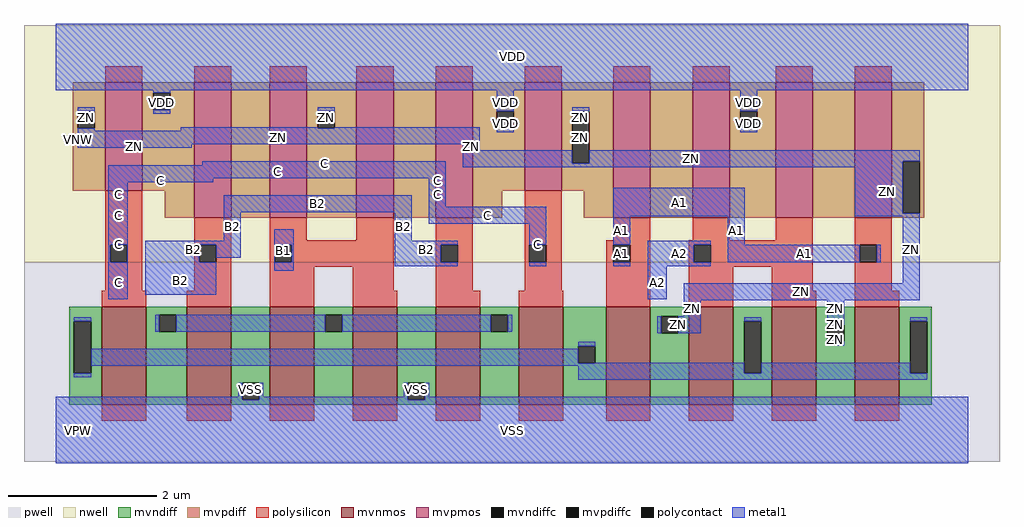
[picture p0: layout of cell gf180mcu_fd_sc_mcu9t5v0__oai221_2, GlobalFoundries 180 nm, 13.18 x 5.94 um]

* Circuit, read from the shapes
.subckt gf180mcu_fd_sc_mcu9t5v0__oai221_2 A1 A2 B1 B2 C ZN VDD VNW VPW VSS
XM1 n1 C n2 VPW nfet_06v0 w=1.32u l=0.6u m=2
XM2 VSS B2 n1 VPW nfet_06v0 w=1.32u l=0.6u m=2
XM3 n1 B1 VSS VPW nfet_06v0 w=1.32u l=0.6u m=2
XM4 ZN A1 n2 VPW nfet_06v0 w=1.32u l=0.6u m=2
XM5 n2 A2 ZN VPW nfet_06v0 w=1.32u l=0.6u m=2
XM6 VDD C ZN VNW pfet_06v0 w=1.46u l=0.5u m=2
XM7 n3 B2 VDD VNW pfet_06v0 w=1.83u l=0.5u
XM8 ZN B1 n3 VNW pfet_06v0 w=1.83u l=0.5u
XM9 n4 B1 ZN VNW pfet_06v0 w=1.83u l=0.5u
XM10 VDD B2 n4 VNW pfet_06v0 w=1.83u l=0.5u
XM11 n5 A1 ZN VNW pfet_06v0 w=1.83u l=0.5u
XM12 VDD A2 n5 VNW pfet_06v0 w=1.83u l=0.5u
XM13 n6 A2 VDD VNW pfet_06v0 w=1.83u l=0.5u
XM14 ZN A1 n6 VNW pfet_06v0 w=1.83u l=0.5u
.ends

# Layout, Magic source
magic
tech gf180mcuD
magscale 1 10
<< nwell >>
rect -86 453 2550 1094
<< pwell >>
rect -86 -86 2550 453
<< mvnmos >>
rect 124 69 244 333
rect 354 69 474 333
rect 578 69 698 333
rect 802 69 922 333
rect 1026 69 1146 333
rect 1250 69 1370 333
rect 1486 69 1606 333
rect 1710 69 1830 333
rect 1934 69 2054 333
rect 2158 69 2278 333
<< mvpmos >>
rect 134 647 234 939
rect 374 573 474 939
rect 578 573 678 939
rect 812 573 912 939
rect 1026 573 1126 939
rect 1266 647 1366 939
rect 1506 573 1606 939
rect 1720 573 1820 939
rect 1944 573 2044 939
rect 2158 573 2258 939
<< mvndiff >>
rect 36 294 124 333
rect 36 154 49 294
rect 95 154 124 294
rect 36 69 124 154
rect 244 312 354 333
rect 244 266 279 312
rect 325 266 354 312
rect 244 69 354 266
rect 474 128 578 333
rect 474 82 503 128
rect 549 82 578 128
rect 474 69 578 82
rect 698 312 802 333
rect 698 266 727 312
rect 773 266 802 312
rect 698 69 802 266
rect 922 128 1026 333
rect 922 82 951 128
rect 997 82 1026 128
rect 922 69 1026 82
rect 1146 312 1250 333
rect 1146 266 1175 312
rect 1221 266 1250 312
rect 1146 69 1250 266
rect 1370 227 1486 333
rect 1370 181 1411 227
rect 1457 181 1486 227
rect 1370 69 1486 181
rect 1606 308 1710 333
rect 1606 262 1635 308
rect 1681 262 1710 308
rect 1606 69 1710 262
rect 1830 294 1934 333
rect 1830 154 1859 294
rect 1905 154 1934 294
rect 1830 69 1934 154
rect 2054 285 2158 333
rect 2054 239 2083 285
rect 2129 239 2158 285
rect 2054 69 2158 239
rect 2278 294 2366 333
rect 2278 154 2307 294
rect 2353 154 2366 294
rect 2278 69 2366 154
<< mvpdiff >>
rect 46 861 134 939
rect 46 815 59 861
rect 105 815 134 861
rect 46 647 134 815
rect 234 911 374 939
rect 234 865 263 911
rect 309 865 374 911
rect 234 647 374 865
rect 294 573 374 647
rect 474 573 578 939
rect 678 861 812 939
rect 678 815 707 861
rect 753 815 812 861
rect 678 573 812 815
rect 912 573 1026 939
rect 1126 861 1266 939
rect 1126 815 1191 861
rect 1237 815 1266 861
rect 1126 647 1266 815
rect 1366 861 1506 939
rect 1366 721 1395 861
rect 1441 721 1506 861
rect 1366 647 1506 721
rect 1126 573 1206 647
rect 1426 573 1506 647
rect 1606 573 1720 939
rect 1820 861 1944 939
rect 1820 815 1849 861
rect 1895 815 1944 861
rect 1820 573 1944 815
rect 2044 573 2158 939
rect 2258 726 2346 939
rect 2258 586 2287 726
rect 2333 586 2346 726
rect 2258 573 2346 586
<< mvndiffc >>
rect 49 154 95 294
rect 279 266 325 312
rect 503 82 549 128
rect 727 266 773 312
rect 951 82 997 128
rect 1175 266 1221 312
rect 1411 181 1457 227
rect 1635 262 1681 308
rect 1859 154 1905 294
rect 2083 239 2129 285
rect 2307 154 2353 294
<< mvpdiffc >>
rect 59 815 105 861
rect 263 865 309 911
rect 707 815 753 861
rect 1191 815 1237 861
rect 1395 721 1441 861
rect 1849 815 1895 861
rect 2287 586 2333 726
<< polysilicon >>
rect 134 939 234 983
rect 374 939 474 983
rect 578 939 678 983
rect 812 939 912 983
rect 1026 939 1126 983
rect 1266 939 1366 983
rect 1506 939 1606 983
rect 1720 939 1820 983
rect 1944 939 2044 983
rect 2158 939 2258 983
rect 134 500 234 647
rect 134 454 147 500
rect 193 454 234 500
rect 134 377 234 454
rect 374 500 474 573
rect 374 454 387 500
rect 433 454 474 500
rect 374 377 474 454
rect 124 333 244 377
rect 354 333 474 377
rect 578 513 678 573
rect 812 513 912 573
rect 578 500 912 513
rect 578 454 591 500
rect 637 454 912 500
rect 578 441 912 454
rect 578 333 698 441
rect 802 377 912 441
rect 1026 500 1126 573
rect 1026 454 1039 500
rect 1085 454 1126 500
rect 1026 377 1126 454
rect 1266 500 1366 647
rect 1506 513 1606 573
rect 1720 513 1820 573
rect 1944 513 2044 573
rect 1266 454 1279 500
rect 1325 454 1366 500
rect 1266 377 1366 454
rect 1486 500 1606 513
rect 1486 454 1506 500
rect 1552 454 1606 500
rect 802 333 922 377
rect 1026 333 1146 377
rect 1250 333 1370 377
rect 1486 333 1606 454
rect 1710 500 2044 513
rect 1710 454 1723 500
rect 1769 454 2044 500
rect 1710 441 2044 454
rect 1710 333 1830 441
rect 1934 377 2044 441
rect 2158 500 2258 573
rect 2158 454 2171 500
rect 2217 454 2258 500
rect 2158 377 2258 454
rect 1934 333 2054 377
rect 2158 333 2278 377
rect 124 25 244 69
rect 354 25 474 69
rect 578 25 698 69
rect 802 25 922 69
rect 1026 25 1146 69
rect 1250 25 1370 69
rect 1486 25 1606 69
rect 1710 25 1830 69
rect 1934 25 2054 69
rect 2158 25 2278 69
<< polycontact >>
rect 147 454 193 500
rect 387 454 433 500
rect 591 454 637 500
rect 1039 454 1085 500
rect 1279 454 1325 500
rect 1506 454 1552 500
rect 1723 454 1769 500
rect 2171 454 2217 500
<< metal1 >>
rect 0 918 2464 1098
rect 263 911 309 918
rect 59 861 105 872
rect 263 854 309 865
rect 707 861 753 872
rect 59 808 105 815
rect 338 815 707 818
rect 1191 861 1237 918
rect 753 815 1145 818
rect 338 808 1145 815
rect 59 772 1145 808
rect 1191 804 1237 815
rect 1395 861 1441 872
rect 59 762 367 772
rect 1099 756 1145 772
rect 396 716 1053 726
rect 142 680 1053 716
rect 1099 721 1395 756
rect 1849 861 1895 918
rect 1849 804 1895 815
rect 1441 726 2333 756
rect 1441 721 2287 726
rect 1099 710 2287 721
rect 142 670 425 680
rect 142 500 194 670
rect 454 588 961 634
rect 454 511 500 588
rect 142 454 147 500
rect 193 454 194 500
rect 142 354 194 454
rect 242 500 500 511
rect 242 454 387 500
rect 433 465 500 500
rect 590 500 642 542
rect 242 366 433 454
rect 590 454 591 500
rect 637 454 642 500
rect 590 430 642 454
rect 915 511 961 588
rect 1007 603 1053 680
rect 1007 557 1325 603
rect 915 500 1085 511
rect 915 454 1039 500
rect 915 443 1085 454
rect 1279 500 1325 557
rect 1279 443 1325 454
rect 1506 578 1861 654
rect 2158 586 2287 710
rect 2158 578 2333 586
rect 1506 500 1552 578
rect 1506 443 1552 454
rect 1598 500 1769 511
rect 1598 454 1723 500
rect 1815 500 1861 578
rect 1815 454 2171 500
rect 2217 454 2228 500
rect 1598 443 1769 454
rect 1598 354 1650 443
rect 2287 397 2333 578
rect 1696 351 2333 397
rect 49 294 95 305
rect 268 266 279 312
rect 325 266 727 312
rect 773 266 1175 312
rect 1221 266 1232 312
rect 1696 308 1742 351
rect 1624 262 1635 308
rect 1681 262 1742 308
rect 1859 294 1905 305
rect 1411 227 1457 238
rect 95 181 1411 220
rect 1457 181 1859 182
rect 95 174 1859 181
rect 49 143 95 154
rect 1411 154 1859 174
rect 2083 285 2129 351
rect 2083 228 2129 239
rect 2307 294 2353 305
rect 1905 154 2307 182
rect 1411 136 2353 154
rect 492 90 503 128
rect 0 82 503 90
rect 549 90 560 128
rect 940 90 951 128
rect 549 82 951 90
rect 997 90 1008 128
rect 997 82 2464 90
rect 0 -90 2464 82
<< labels >>
flabel metal1 s 1506 578 1861 654 0 FreeSans 200 0 0 0 A1
port 1 nsew default input
flabel metal1 s 1598 443 1769 511 0 FreeSans 200 0 0 0 A2
port 2 nsew default input
flabel metal1 s 590 430 642 542 0 FreeSans 200 0 0 0 B1
port 3 nsew default input
flabel metal1 s 454 588 961 634 0 FreeSans 200 0 0 0 B2
port 4 nsew default input
flabel metal1 s 396 716 1053 726 0 FreeSans 200 0 0 0 C
port 5 nsew default input
flabel metal1 s 0 918 2464 1098 0 FreeSans 200 0 0 0 VDD
port 7 nsew power bidirectional abutment
flabel metal1 s 940 90 1008 128 0 FreeSans 200 0 0 0 VSS
port 10 nsew ground bidirectional abutment
flabel metal1 s 1395 818 1441 872 0 FreeSans 200 0 0 0 ZN
port 6 nsew default output
flabel nwell s 10 734 110 834 0 FreeSans 400 0 0 0 VNW
port 8 nsew power bidirectional
flabel pwell s 10 -50 110 50 0 FreeSans 400 0 0 0 VPW
port 9 nsew ground bidirectional
rlabel metal1 s 1815 500 1861 578 1 A1
port 1 nsew default input
rlabel metal1 s 1506 500 1552 578 1 A1
port 1 nsew default input
rlabel metal1 s 1815 454 2228 500 1 A1
port 1 nsew default input
rlabel metal1 s 1506 454 1552 500 1 A1
port 1 nsew default input
rlabel metal1 s 1506 443 1552 454 1 A1
port 1 nsew default input
rlabel metal1 s 1598 354 1650 443 1 A2
port 2 nsew default input
rlabel metal1 s 915 511 961 588 1 B2
port 4 nsew default input
rlabel metal1 s 454 511 500 588 1 B2
port 4 nsew default input
rlabel metal1 s 915 465 1085 511 1 B2
port 4 nsew default input
rlabel metal1 s 242 465 500 511 1 B2
port 4 nsew default input
rlabel metal1 s 915 443 1085 465 1 B2
port 4 nsew default input
rlabel metal1 s 242 443 433 465 1 B2
port 4 nsew default input
rlabel metal1 s 242 366 433 443 1 B2
port 4 nsew default input
rlabel metal1 s 142 680 1053 716 1 C
port 5 nsew default input
rlabel metal1 s 1007 670 1053 680 1 C
port 5 nsew default input
rlabel metal1 s 142 670 425 680 1 C
port 5 nsew default input
rlabel metal1 s 1007 603 1053 670 1 C
port 5 nsew default input
rlabel metal1 s 142 603 194 670 1 C
port 5 nsew default input
rlabel metal1 s 1007 557 1325 603 1 C
port 5 nsew default input
rlabel metal1 s 142 557 194 603 1 C
port 5 nsew default input
rlabel metal1 s 1279 443 1325 557 1 C
port 5 nsew default input
rlabel metal1 s 142 443 194 557 1 C
port 5 nsew default input
rlabel metal1 s 142 354 194 443 1 C
port 5 nsew default input
rlabel metal1 s 707 818 753 872 1 ZN
port 6 nsew default output
rlabel metal1 s 59 818 105 872 1 ZN
port 6 nsew default output
rlabel metal1 s 1395 808 1441 818 1 ZN
port 6 nsew default output
rlabel metal1 s 338 808 1145 818 1 ZN
port 6 nsew default output
rlabel metal1 s 59 808 105 818 1 ZN
port 6 nsew default output
rlabel metal1 s 1395 772 1441 808 1 ZN
port 6 nsew default output
rlabel metal1 s 59 772 1145 808 1 ZN
port 6 nsew default output
rlabel metal1 s 1395 762 1441 772 1 ZN
port 6 nsew default output
rlabel metal1 s 1099 762 1145 772 1 ZN
port 6 nsew default output
rlabel metal1 s 59 762 367 772 1 ZN
port 6 nsew default output
rlabel metal1 s 1395 756 1441 762 1 ZN
port 6 nsew default output
rlabel metal1 s 1099 756 1145 762 1 ZN
port 6 nsew default output
rlabel metal1 s 1099 710 2333 756 1 ZN
port 6 nsew default output
rlabel metal1 s 2158 578 2333 710 1 ZN
port 6 nsew default output
rlabel metal1 s 2287 397 2333 578 1 ZN
port 6 nsew default output
rlabel metal1 s 1696 351 2333 397 1 ZN
port 6 nsew default output
rlabel metal1 s 2083 308 2129 351 1 ZN
port 6 nsew default output
rlabel metal1 s 1696 308 1742 351 1 ZN
port 6 nsew default output
rlabel metal1 s 2083 262 2129 308 1 ZN
port 6 nsew default output
rlabel metal1 s 1624 262 1742 308 1 ZN
port 6 nsew default output
rlabel metal1 s 2083 228 2129 262 1 ZN
port 6 nsew default output
rlabel metal1 s 1849 854 1895 918 1 VDD
port 7 nsew power bidirectional abutment
rlabel metal1 s 1191 854 1237 918 1 VDD
port 7 nsew power bidirectional abutment
rlabel metal1 s 263 854 309 918 1 VDD
port 7 nsew power bidirectional abutment
rlabel metal1 s 1849 804 1895 854 1 VDD
port 7 nsew power bidirectional abutment
rlabel metal1 s 1191 804 1237 854 1 VDD
port 7 nsew power bidirectional abutment
rlabel metal1 s 492 90 560 128 1 VSS
port 10 nsew ground bidirectional abutment
rlabel metal1 s 0 -90 2464 90 1 VSS
port 10 nsew ground bidirectional abutment
<< properties >>
string FIXED_BBOX 0 0 2464 1008
string GDS_END 230998
string GDS_FILE $PDKPATH/libs.ref/gf180mcu_fd_sc_mcu9t5v0/gds/gf180mcu_fd_sc_mcu9t5v0.gds
string GDS_START 225192
string LEFclass core
string LEFsite GF018hv5v_green_sc9
string LEFsymmetry X Y
<< end >>
